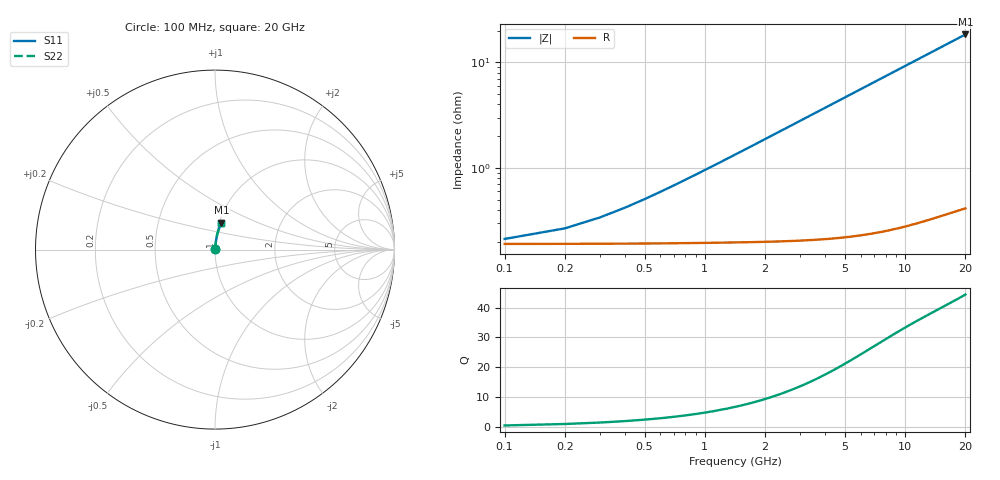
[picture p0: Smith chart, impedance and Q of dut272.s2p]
! Touchstone file exported from HFSS 2026.1.0
!  File:  C:/ffzhzh/LocalFiles/Ansys_Project_Files/temp_train_TSV_272_1782993337_41620.aedt
!  Generated:  07:58:20 PM Jul  2, 2026
!  Design:  TSV
!  Project:  temp_train_TSV_272_1782993337_41620
! Variables:
!  h_bsmrdl = 2um
!  h_ox = 20um
!  h_rdl = 5um
!  h_sub = 72.84um
!  h_tmrdl = 5um
!  h_tsv = 72.84um
!  h_via = 3um
!  l_bsmrdl = 300um
!  l_sub = 404.2um
!  l_tmrdl = 200um
!  m_sub = 200um
!  pitch = 51.8um
!  r_tsv = 2.1um
!  s_tmrdl = 10um
!  w_bsmrdl = 18um
!  w_sub = 500um
!  w_tmrdl = 12um
!  x_tsv_center1 = 206um
!  x_tsv_center2 = 524um
!  x_tsv_center3 = 736um
!  x_tsv_center4 = 1054um
!  x_tsv_center5 = 1266um
!  x_tsv_center6 = 1584um
# GHz S MA R 50.000000
! Terminal data exported
! Port[1] = TSV1_1_T1
! Port[2] = TSV1_1_T2
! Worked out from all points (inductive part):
!   200 points, 100 MHz to 20 GHz, reference 50 ohm
!   read as one part in series: L = 149 pH near 700 MHz
!   highest Q = 44.4 at 20 GHz (marker M1), where L = 146 pH
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0.1  0.002064 22.9  0.9981 -0.1  0.9981 -0.1  0.002064 22.9
! Gamma 0 0 0 0
! Port Impedance 50 0 50 0
0.4  0.00374 59.0  0.9981 -0.2  0.9981 -0.2  0.00374 59.0
0.5  0.00445 64.2  0.9981 -0.3  0.9981 -0.3  0.00445 64.2
0.6  0.005185 67.9  0.9981 -0.4  0.9981 -0.4  0.005185 67.9
0.7  0.005936 70.6  0.9981 -0.4  0.9981 -0.4  0.005936 70.6
0.9  0.007467 74.4  0.998 -0.5  0.998 -0.5  0.007467 74.4
1.1  0.009018 76.9  0.998 -0.7  0.998 -0.7  0.009018 76.9
1.3  0.01058 78.5  0.998 -0.8  0.998 -0.8  0.01058 78.5
1.7  0.01373 80.7  0.9979 -1.0  0.9979 -1.0  0.01373 80.7
2.2  0.01768 82.2  0.9978 -1.3  0.9978 -1.3  0.01768 82.2
2.8  0.02243 83.1  0.9977 -1.7  0.9977 -1.7  0.02243 83.1
3.5  0.02798 83.6  0.9975 -2.1  0.9975 -2.1  0.02798 83.6
4.2  0.03353 83.8  0.9973 -2.6  0.9973 -2.6  0.03353 83.8
5  0.03986 83.8  0.997 -3.0  0.997 -3.0  0.03986 83.8
5.9  0.04697 83.6  0.9966 -3.6  0.9966 -3.6  0.04697 83.6
6.8  0.05406 83.4  0.9962 -4.1  0.9962 -4.1  0.05406 83.4
8.3  0.06583 82.8  0.9953 -5.0  0.9953 -5.0  0.06583 82.8
10.1  0.07986 81.9  0.994 -6.1  0.994 -6.1  0.07986 81.9
11.7  0.09223 81.1  0.9927 -7.1  0.9927 -7.1  0.09223 81.1
13.4  0.1053 80.2  0.9912 -8.1  0.9912 -8.1  0.1053 80.2
16.7  0.1303 78.4  0.9878 -10.0  0.9878 -10.0  0.1303 78.4
20  0.1548 76.6  0.9839 -11.9  0.9839 -11.9  0.1548 76.6
